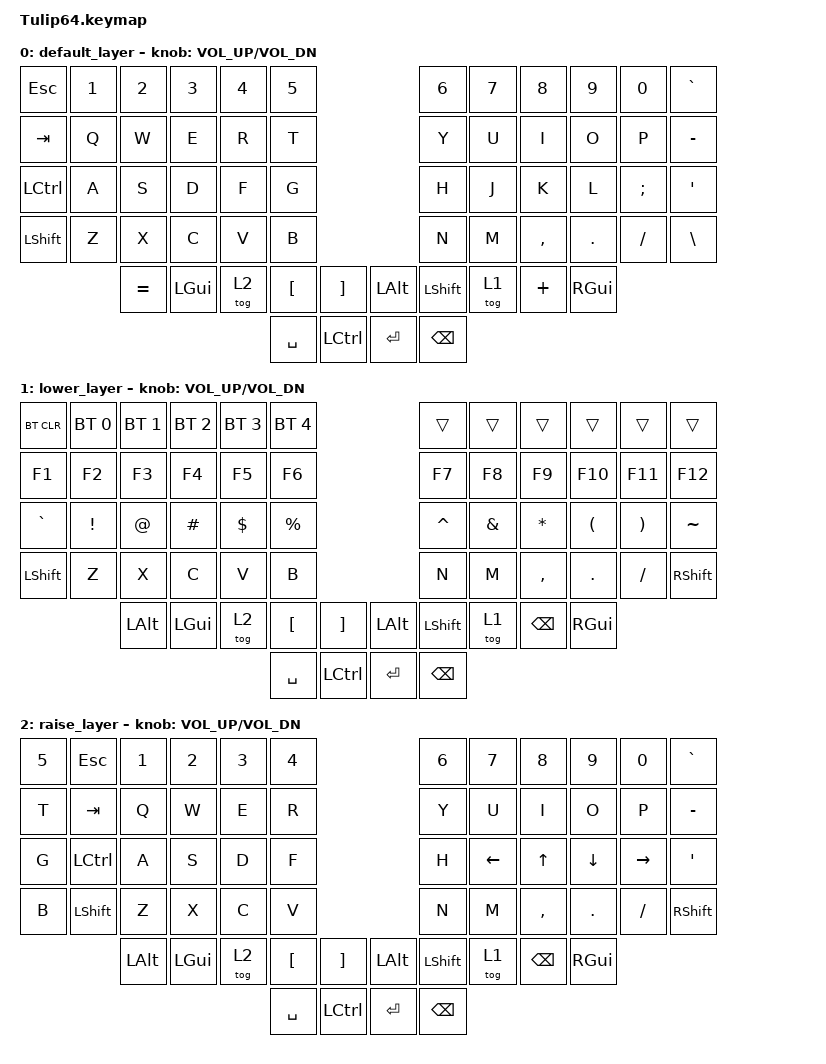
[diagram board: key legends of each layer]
/*
 * Copyright (c) 2020 The ZMK Contributors
 *
 * SPDX-License-Identifier: MIT
 */

#include <behaviors.dtsi>
#include <dt-bindings/zmk/keys.h>
#include <dt-bindings/zmk/bt.h>
#include <dt-bindings/zmk/ext_power.h>

/ {
    keymap {
        compatible = "zmk,keymap";

        default_layer {
// ------------------------------------------------------------------------------------------------------------
// |  ESC  |  1  |  2  |  3   |  4   |  5   |                   |  6   |  7    |  8    |  9   |   0   |   `   |
// |  TAB  |  Q  |  W  |  E   |  R   |  T   |                   |  Y   |  U    |  I    |  O   |   P   |   -   |
// |  CTRL |  A  |  S  |  D   |  F   |  G   |                   |  H   |  J    |  K    |  L   |   ;   |   '   |
// | SHIFT |  Z  |  X  |  C   |  V   |  B   |   "["  |  |  "]"  |  N   |  M    |  ,    |  .   |   /   | SHIFT |
//                     | ALT  | GUI  | LOWER|  SPACE |  | ENTER | RAISE| BSPC  | GUI   |
            bindings = <
&kp ESC   &kp N1 &kp N2 &kp N3   &kp N4   &kp N5                                                &kp N6 &kp N7   &kp N8    &kp N9  &kp N0   &kp GRAVE
&kp TAB   &kp Q  &kp W  &kp E    &kp R    &kp T                                                 &kp Y  &kp U    &kp I     &kp O   &kp P    &kp MINUS
&kp LCTRL &kp A  &kp S  &kp D    &kp F    &kp G                                                 &kp H  &kp J    &kp K     &kp L   &kp SEMI &kp SQT
&kp LSHFT &kp Z  &kp X  &kp C    &kp V    &kp B                                                 &kp N  &kp M    &kp COMMA &kp DOT &kp FSLH &kp BSLH
                 &kp EQUAL &kp LGUI &tog 2        &kp LBKT  &kp RBKT          &kp LALT &kp LSHIFT        &tog 1  &kp PLUS  &kp RGUI
                                                &kp SPACE &kp LCTRL         &kp RETURN &kp BSPC  
            >;

            sensor-bindings = <&inc_dec_kp C_VOL_UP C_VOL_DN>;
        };

        lower_layer {
// ------------------------------------------------------------------------------------------------------------
// | BTCLR | BT1 | BT2 |  BT3 |  BT4 |  BT5 |                   |      |       |       |      |       |       |
// |  F1   |  F2 |  F3 |  F4  |  F5  |  F6  |                   |  F7  |  F8   |  F9   |  F10 |  F11  |  F12  |
// |   `   |  !  |  @  |  #   |  $   |  %   |                   |  ^   |  &    |  *    |  (   |   )   |   ~   |
// |       |     |     |      |      |      |        |  |       |      |  _    |  +    |  {   |   }   |  "|"  |
//                     |      |      |      |        |  |       |      |       |       |
            bindings = <

&bt BT_CLR &bt BT_SEL 0     &bt BT_SEL 1      &bt BT_SEL 2      &bt BT_SEL 3 &bt BT_SEL 4                 &trans    &trans    &trans    &trans    &trans    &trans
&kp F1     &kp F2           &kp F3            &kp F4            &kp F5       &kp F6                       &kp F7    &kp F8    &kp F9    &kp F10   &kp F11   &kp F12
&kp GRAVE  &kp EXCL         &kp AT            &kp HASH          &kp DOLLAR   &kp PRCNT                    &kp CARET &kp AMPS  &kp ASTRK &kp LPAR  &kp RPAR  &kp TILDE
&kp LSHFT &kp Z  &kp X  &kp C    &kp V    &kp B                                                 &kp N  &kp M    &kp COMMA &kp DOT &kp FSLH &kp RSHFT
                 &kp LALT &kp LGUI &tog 2        &kp LBKT  &kp RBKT          &kp LALT &kp LSHIFT        &tog 1  &kp BSPC &kp RGUI
                                                &kp SPACE &kp LCTRL         &kp RETURN &kp BSPC 
            >;

            sensor-bindings = <&inc_dec_kp C_VOL_UP C_VOL_DN>;
        };

        raise_layer {
// ------------------------------------------------------------------------------------------------------------
// |       |     |     |      |      |      |                   |      |       |       |      |       |       |
// |   `   |  1  |  2  |  3   |  4   |  5   |                   |  6   |   7   |   8   |  9   |   0   |       |
// |   F1  |  F2 |  F3 |  F4  |  F5  |  F6  |                   |      |   <-  |   v   |  ^   |  ->   |       |
// |   F7  |  F8 |  F9 |  F10 |  F11 |  F12 |        |  |       |  +   |   -   |   =   |  [   |   ]   |   \   |
//                     |      |      |      |        |  |       |      |       |       |
            bindings = <
 &kp N5   &kp ESC   &kp N1 &kp N2 &kp N3   &kp N4                                                  &kp N6 &kp N7   &kp N8    &kp N9  &kp N0   &kp GRAVE
&kp T     &kp TAB   &kp Q  &kp W  &kp E    &kp R                                                    &kp Y  &kp U    &kp I     &kp O   &kp P    &kp MINUS
&kp G     &kp LCTRL &kp A  &kp S  &kp D    &kp F                                                &kp H  &kp LEFT    &kp UP     &kp DOWN   &kp RIGHT &kp SQT
 &kp B    &kp LSHFT &kp Z  &kp X  &kp C    &kp V                                                &kp N  &kp M    &kp COMMA &kp DOT &kp FSLH &kp RSHFT
                 &kp LALT &kp LGUI &tog 2        &kp LBKT  &kp RBKT          &kp LALT &kp LSHIFT       &tog 1  &kp BSPC &kp RGUI
                                                &kp SPACE &kp LCTRL         &kp RETURN &kp BSPC  
            >;

            sensor-bindings = <&inc_dec_kp C_VOL_UP C_VOL_DN>;
        };
    };
};
